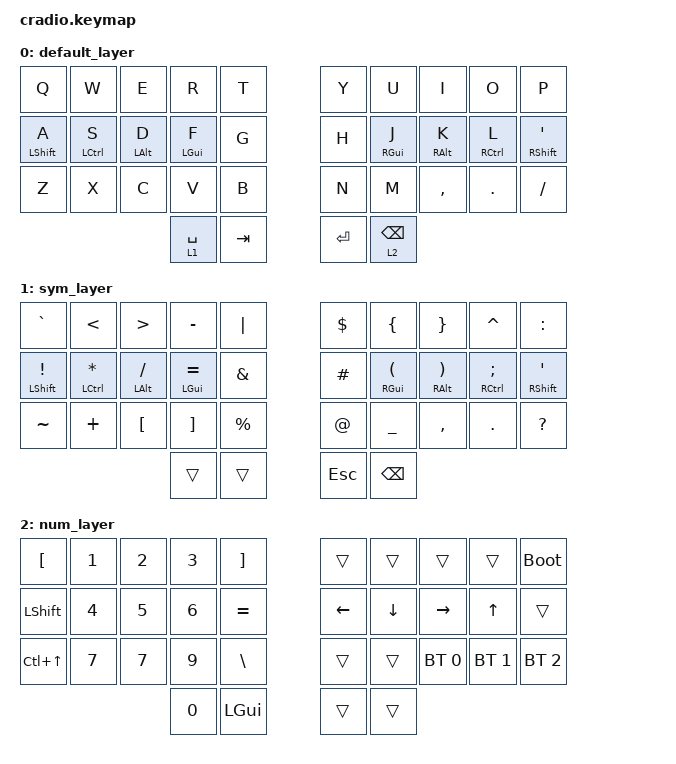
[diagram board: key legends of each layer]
/*
 * Copyright (c) 2020 The ZMK Contributors
 *
 * SPDX-License-Identifier: MIT
 */

#undef ZMK_BEHAVIORS_KEEP_ALL

#include <behaviors.dtsi>
#include <dt-bindings/zmk/keys.h>
#include <dt-bindings/zmk/bt.h>

/*    chosen {
        zmk,matrix-transform = &default_transform;
    };
*/

&mt {
    flavor = "tap-preferred";
    tapping_term_ms = <200>;
};

// Using layer taps on thumbs, having quick tap as well helps w/ repeating space/backspace
&lt { quick-tap-ms = <200>; };

/ {
    behaviors {
        hm: homerow_mods {
            compatible = "zmk,behavior-hold-tap";
            #binding-cells = <2>;
            tapping-term-ms = <200>;
            flavor = "tap-preferred";
            bindings = <&kp>, <&kp>;
        };
    };

    keymap {
        compatible = "zmk,keymap";

        default_layer {
            bindings = <
                &kp Q      &kp W      &kp E       &kp R          &kp T         &kp Y            &kp U          &kp I       &kp O       &kp P
                &hm LSHFT A &hm LCTRL S &hm LALT D &hm LGUI F    &kp G         &kp H            &hm RGUI J     &hm RALT K  &hm RCTRL L &hm RSHFT SQT
                &kp Z      &kp X      &kp C       &kp V          &kp B         &kp N            &kp M          &kp COMMA   &kp DOT     &kp FSLH
                                                &lt 1 SPACE  &kp TAB     &kp ENTER  &lt 2 BSPC
            >;
        };

        sym_layer {
            bindings = <
                &kp GRAVE   &kp LT      &kp GT     &kp MINUS     &kp PIPE      &kp DLLR   &kp LBRC      &kp RBRC   &kp CARET   &kp COLON
                &hm LSHFT EXCL &hm LCTRL STAR &hm LALT FSLH &hm LGUI EQUAL     &kp AMPS   &kp HASH      &hm RGUI LPAR  &hm RALT RPAR  &hm RCTRL SEMI &hm RSHFT SQT
                &kp TILDE   &kp PLUS    &kp LBKT   &kp RBKT      &kp PERCENT   &kp AT     &kp UNDER     &kp COMMA   &kp DOT    &kp QUESTION
                                                   &trans  &trans     &kp ESC  &kp BSPC
            >;
        };

        num_layer {
            bindings = <
                &kp LBKT        &kp N1     &kp N2      &kp N3      &kp RBKT      &trans      &trans      &trans      &trans     &bootloader
                &kp LEFT_SHIFT  &kp N4     &kp N5      &kp N6      &kp EQUAL     &kp LEFT    &kp DOWN    &kp RIGHT   &kp UP     &trans
                &kp LC(UP)     &kp N7      &kp N7      &kp N9      &kp BSLH      &trans      &trans      &bt BT_SEL 0      &bt BT_SEL 1     &bt BT_SEL 2
                                                  &kp N0      &kp LGUI      &trans      &trans
            >;

            // need to add tri layer for admin functions such as entering bootloader mode and changing bluetooth conection
        };

    };
};
